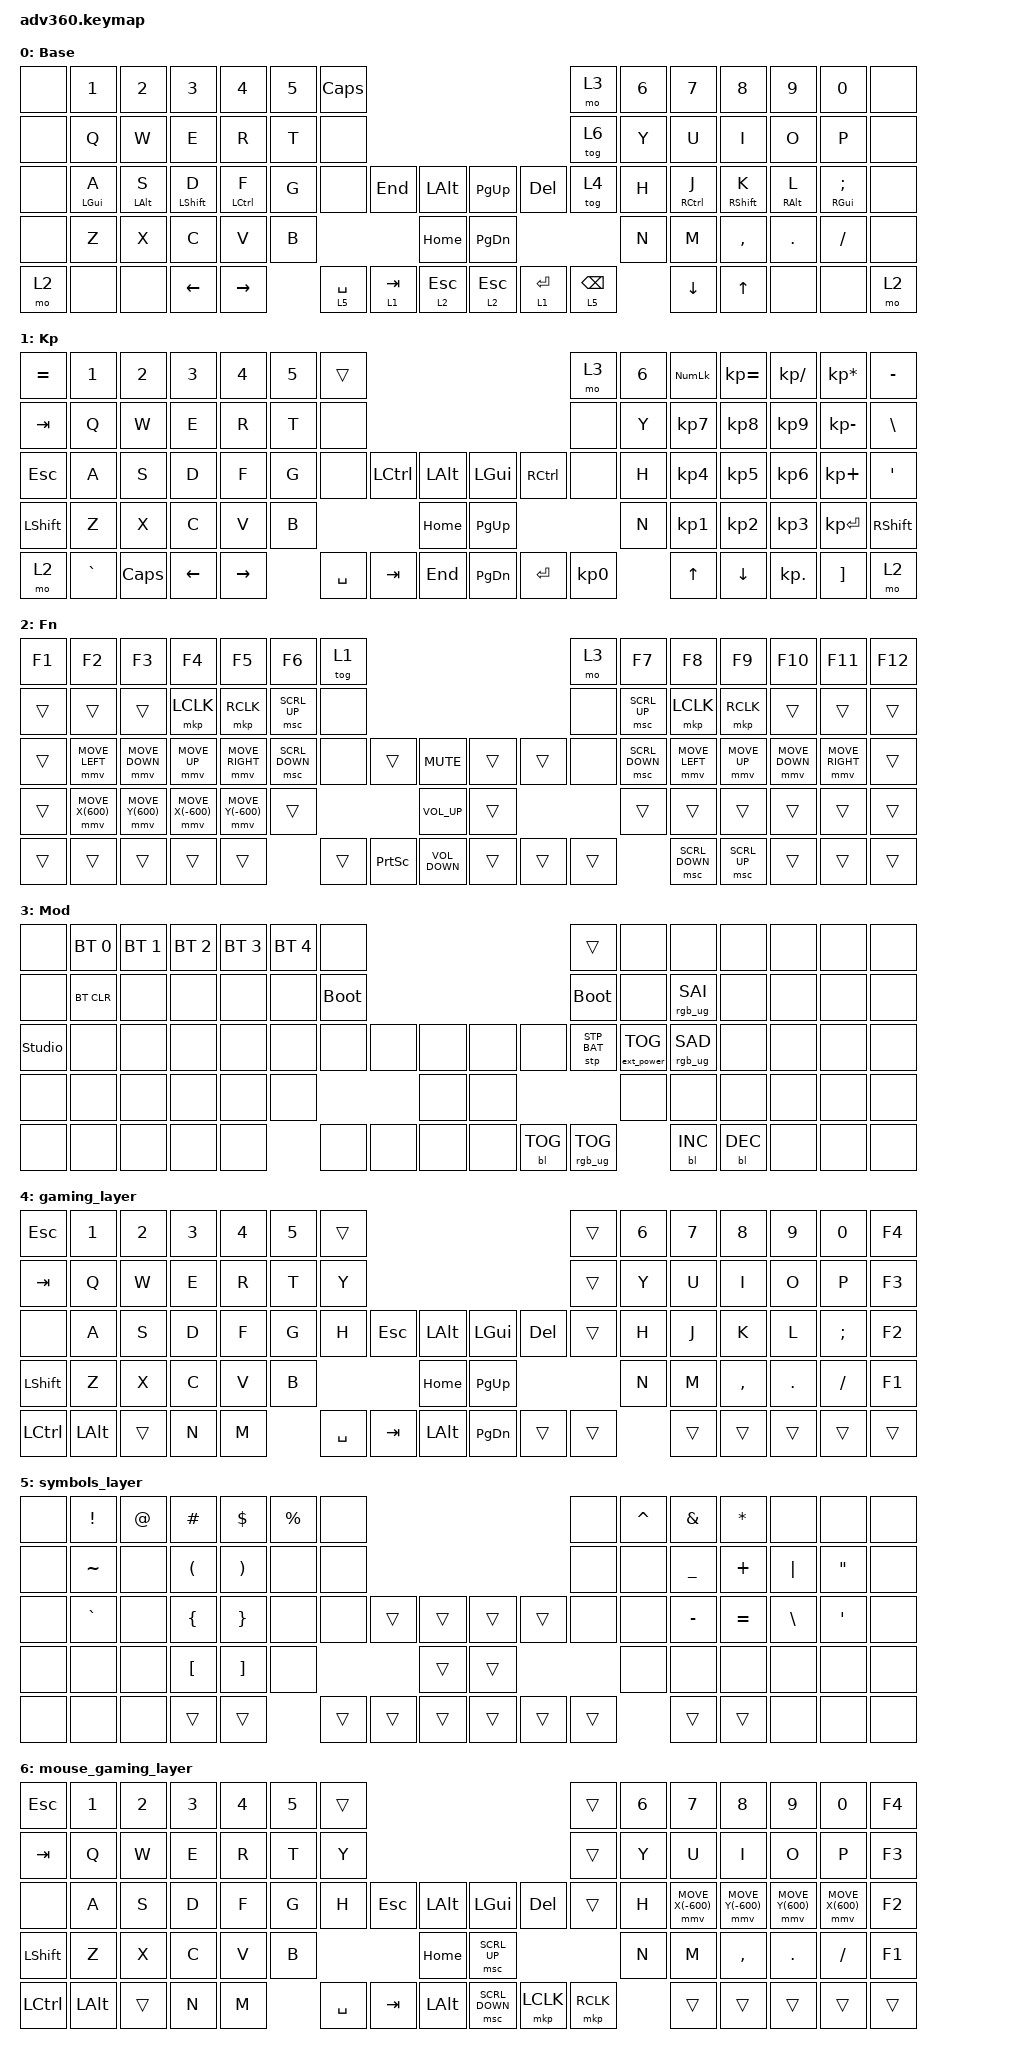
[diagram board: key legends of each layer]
#include <dt-bindings/zmk/stp.h>
#include <behaviors.dtsi>
#include <dt-bindings/zmk/backlight.h>
#include <dt-bindings/zmk/bt.h>
#include <dt-bindings/zmk/ext_power.h>
#include <dt-bindings/zmk/keys.h>
#include <dt-bindings/zmk/pointing.h>
#include <dt-bindings/zmk/rgb.h>

/ {
    behaviors {
        #include "macros.dtsi"
      #include "version.dtsi"

        hm: homerow_mods {
            compatible = "zmk,behavior-hold-tap";
            label = "HOMEROW_MODS";
            #binding-cells = <2>;
            tapping-term-ms = <240>;
            flavor = "tap-preferred";
            bindings = <&kp>, <&kp>;

            quick-tap-ms = <175>;
        };

        lth: layer_tap_hold {
            compatible = "zmk,behavior-hold-tap";
            label = "LAYER_TAP_HOLD";
            #binding-cells = <2>;
            tapping-term-ms = <240>;
            flavor = "tap-preferred";
            bindings = <&mo>, <&kp>;

            quick-tap-ms = <175>;
        };
    };

    combos { compatible = "zmk,combos"; };

    keymap {
        compatible = "zmk,keymap";

        default_layer {
            display-name = "Base";
            bindings = <
&none  &kp N1      &kp N2      &kp N3            &kp N4              &kp N5  &kp CAPSLOCK                                                           &mo 3             &kp N6  &kp N7               &kp N8             &kp N9           &kp N0                   &none
&none  &kp Q       &kp W       &kp E             &kp R               &kp T   &none                                                                  &tog 6            &kp Y   &kp U                &kp I              &kp O            &kp P                    &none
&none  &hm LGUI A  &hm LALT S  &hm LEFT_SHIFT D  &hm LEFT_CONTROL F  &kp G   &none         &kp END     &kp LALT        &kp PAGE_UP    &kp DELETE    &tog 4            &kp H   &hm RIGHT_CONTROL J  &hm RIGHT_SHIFT K  &hm RIGHT_ALT L  &hm RIGHT_GUI SEMICOLON  &none
&none  &kp Z       &kp X       &kp C             &kp V               &kp B                             &kp HOME        &kp PAGE_DOWN                                  &kp N   &kp M                &kp COMMA          &kp DOT          &kp FSLH                 &none
&mo 2  &none       &none       &kp LEFT          &kp RIGHT                   &lth 5 SPACE  &lth 1 TAB  &lth 2 ESC      &lth 2 ESCAPE  &lth 1 ENTER  &lth 5 BACKSPACE          &kp DOWN             &kp UP             &none            &none                    &mo 2
            >;
        };

        keypad_layer {
            display-name = "Kp";
            bindings = <
&kp EQUAL  &kp N1     &kp N2    &kp N3    &kp N4     &kp N5  &trans                                                    &mo 3      &kp N6  &kp KP_NUM  &kp KP_EQUAL  &kp KP_DIVIDE  &kp KP_MULTIPLY  &kp MINUS
&kp TAB    &kp Q      &kp W     &kp E     &kp R      &kp T   &none                                                     &none      &kp Y   &kp KP_N7   &kp KP_N8     &kp KP_N9      &kp KP_MINUS     &kp BSLH
&kp ESC    &kp A      &kp S     &kp D     &kp F      &kp G   &none      &kp LCTRL  &kp LALT      &kp LGUI   &kp RCTRL  &none      &kp H   &kp KP_N4   &kp KP_N5     &kp KP_N6      &kp KP_PLUS      &kp SQT
&kp LSHFT  &kp Z      &kp X     &kp C     &kp V      &kp B                         &kp HOME      &kp PG_UP                        &kp N   &kp KP_N1   &kp KP_N2     &kp KP_N3      &kp KP_ENTER     &kp RSHFT
&mo 2      &kp GRAVE  &kp CAPS  &kp LEFT  &kp RIGHT          &kp SPACE  &kp TAB    &kp END       &kp PG_DN  &kp ENTER  &kp KP_N0          &kp UP      &kp DOWN      &kp KP_DOT     &kp RBKT         &mo 2
            >;
        };

        fn_layer {
            display-name = "Fn";
            bindings = <
&kp F1  &kp F2            &kp F3            &kp F4             &kp F5             &kp F6          &tog 1                                                          &mo 3   &kp F7          &kp F8          &kp F9        &kp F10         &kp F11          &kp F12
&trans  &trans            &trans            &mkp LCLK          &mkp RCLK          &msc SCRL_UP    &none                                                           &none   &msc SCRL_UP    &mkp LCLK       &mkp RCLK     &trans          &trans           &trans
&trans  &mmv MOVE_LEFT    &mmv MOVE_DOWN    &mmv MOVE_UP       &mmv MOVE_RIGHT    &msc SCRL_DOWN  &none   &trans           &kp C_MUTE             &trans  &trans  &none   &msc SCRL_DOWN  &mmv MOVE_LEFT  &mmv MOVE_UP  &mmv MOVE_DOWN  &mmv MOVE_RIGHT  &trans
&trans  &mmv MOVE_X(600)  &mmv MOVE_Y(600)  &mmv MOVE_X(-600)  &mmv MOVE_Y(-600)  &trans                                   &kp C_VOLUME_UP        &trans                  &trans          &trans          &trans        &trans          &trans           &trans
&trans  &trans            &trans            &trans             &trans                             &trans  &kp PRINTSCREEN  &kp C_VOLUME_DOWN      &trans  &trans  &trans                  &msc SCRL_DOWN  &msc SCRL_UP  &trans          &trans           &trans
            >;
        };

        mod_layer {
            display-name = "Mod";
            bindings = <
&none           &bt BT_SEL 0  &bt BT_SEL 1  &bt BT_SEL 2  &bt BT_SEL 3  &bt BT_SEL 4  &none                                             &trans           &none              &none            &none       &none  &none  &none
&none           &bt BT_CLR    &none         &none         &none         &none         &bootloader                                       &bootloader      &none              &rgb_ug RGB_SAI  &none       &none  &none  &none
&studio_unlock  &none         &none         &none         &none         &none         &none        &none  &none      &none  &none       &stp STP_BAT     &ext_power EP_TOG  &rgb_ug RGB_SAD  &none       &none  &none  &none
&none           &none         &none         &none         &none         &none                             &none      &none                               &none              &none            &none       &none  &none  &none
&none           &none         &none         &none         &none                       &none        &none  &none      &none  &bl BL_TOG  &rgb_ug RGB_TOG                     &bl BL_INC       &bl BL_DEC  &none  &none  &none
            >;
        };

        gaming_layer {
            bindings = <
&kp ESC    &kp N1        &kp N2  &kp N3  &kp N4  &kp N5  &trans                                                    &trans  &kp N6  &kp N7  &kp N8     &kp N9   &kp N0    &kp F4
&kp TAB    &kp Q         &kp W   &kp E   &kp R   &kp T   &kp Y                                                     &trans  &kp Y   &kp U   &kp I      &kp O    &kp P     &kp F3
&none      &kp A         &kp S   &kp D   &kp F   &kp G   &kp H      &kp ESC  &kp LALT      &kp LEFT_GUI   &kp DEL  &trans  &kp H   &kp J   &kp K      &kp L    &kp SEMI  &kp F2
&kp LSHFT  &kp Z         &kp X   &kp C   &kp V   &kp B                       &kp HOME      &kp PAGE_UP                     &kp N   &kp M   &kp COMMA  &kp DOT  &kp FSLH  &kp F1
&kp LCTRL  &kp LEFT_ALT  &trans  &kp N   &kp M           &kp SPACE  &kp TAB  &kp LALT      &kp PAGE_DOWN  &trans   &trans          &trans  &trans     &trans   &trans    &trans
            >;
        };

        symbols_layer {
            bindings = <
&none  &kp EXCLAMATION  &kp AT_SIGN  &kp HASH              &kp DOLLAR             &kp PERCENT  &none                                       &none   &kp CARET  &kp AMPERSAND   &kp ASTERISK  &none          &none              &none
&none  &kp TILDE        &none        &kp LEFT_PARENTHESIS  &kp RIGHT_PARENTHESIS  &none        &none                                       &none   &none      &kp UNDERSCORE  &kp PLUS      &kp PIPE       &kp DOUBLE_QUOTES  &none
&none  &kp GRAVE        &none        &kp LEFT_BRACE        &kp RIGHT_BRACE        &none        &none   &trans  &trans      &trans  &trans  &none   &none      &kp MINUS       &kp EQUAL     &kp BACKSLASH  &kp SINGLE_QUOTE   &none
&none  &none            &none        &kp LEFT_BRACKET      &kp RIGHT_BRACKET      &none                        &trans      &trans                  &none      &none           &none         &none          &none              &none
&none  &none            &none        &trans                &trans                              &trans  &trans  &trans      &trans  &trans  &trans             &trans          &trans        &none          &none              &none
            >;
        };

        mouse_gaming_layer {
            bindings = <
&kp ESC    &kp N1        &kp N2  &kp N3  &kp N4  &kp N5  &trans                                                       &trans     &kp N6  &kp N7             &kp N8             &kp N9            &kp N0            &kp F4
&kp TAB    &kp Q         &kp W   &kp E   &kp R   &kp T   &kp Y                                                        &trans     &kp Y   &kp U              &kp I              &kp O             &kp P             &kp F3
&none      &kp A         &kp S   &kp D   &kp F   &kp G   &kp H      &kp ESC  &kp LALT      &kp LEFT_GUI    &kp DEL    &trans     &kp H   &mmv MOVE_X(-600)  &mmv MOVE_Y(-600)  &mmv MOVE_Y(600)  &mmv MOVE_X(600)  &kp F2
&kp LSHFT  &kp Z         &kp X   &kp C   &kp V   &kp B                       &kp HOME      &msc SCRL_UP                          &kp N   &kp M              &kp COMMA          &kp DOT           &kp FSLH          &kp F1
&kp LCTRL  &kp LEFT_ALT  &trans  &kp N   &kp M           &kp SPACE  &kp TAB  &kp LALT      &msc SCRL_DOWN  &mkp LCLK  &mkp RCLK          &trans             &trans             &trans            &trans            &trans
            >;
        };
    };
};
